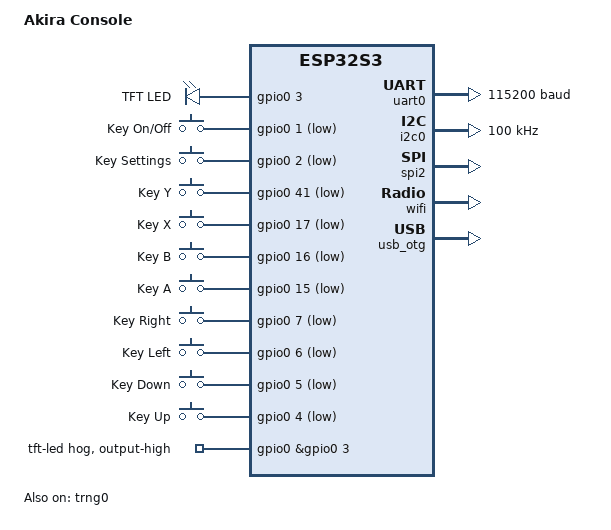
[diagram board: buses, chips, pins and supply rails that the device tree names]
/dts-v1/;

#include <espressif/esp32s3/esp32s3_mini_n4r2.dtsi>
#include "akiraconsole-pinctrl.dtsi"
#include <zephyr/dt-bindings/gpio/gpio.h>
#include <zephyr/dt-bindings/input/input-event-codes.h>
#include <espressif/partitions_0x0_amp.dtsi>

/ {
    model = "Akira Console";
    compatible = "akira,akiraconsole", "generic,esp32s3";

    chosen {
        zephyr,sram = &sram1;
        /* Use CDC ACM UART over USB OTG for console to keep GPIO1/3 free */
        zephyr,console = &cdc_acm_uart0;
        zephyr,shell-uart = &cdc_acm_uart0;
        zephyr,flash = &flash0;
        zephyr,code-partition = &slot0_partition;
    };

    aliases {
        i2c-0 = &i2c0;
        spi-2 = &spi2;
    };

    leds {
        compatible = "gpio-leds";

        tft_led: tft_led {
            gpios = <&gpio0 3 GPIO_ACTIVE_HIGH>;
            label = "TFT LED";
        };
    };

    gpio_keys {
        compatible = "gpio-keys";

        key_onoff: key_onoff {
            gpios = <&gpio0 1 (GPIO_PULL_UP | GPIO_ACTIVE_LOW)>;
            label = "Key On/Off";
            zephyr,code = <INPUT_KEY_POWER>;
        };

        key_settings: key_settings {
            gpios = <&gpio0 2 (GPIO_PULL_UP | GPIO_ACTIVE_LOW)>;
            label = "Key Settings";
            zephyr,code = <INPUT_KEY_MENU>;
        };

        key_y: key_y {
            gpios = <&gpio0 41 (GPIO_PULL_UP | GPIO_ACTIVE_LOW)>;
            label = "Key Y";
            zephyr,code = <INPUT_KEY_Y>;
        };

        key_x: key_x {
            gpios = <&gpio0 17 (GPIO_PULL_UP | GPIO_ACTIVE_LOW)>;
            label = "Key X";
            zephyr,code = <INPUT_KEY_X>;
        };

        key_b: key_b {
            gpios = <&gpio0 16 (GPIO_PULL_UP | GPIO_ACTIVE_LOW)>;
            label = "Key B";
            zephyr,code = <INPUT_KEY_B>;
        };

        key_a: key_a {
            gpios = <&gpio0 15 (GPIO_PULL_UP | GPIO_ACTIVE_LOW)>;
            label = "Key A";
            zephyr,code = <INPUT_KEY_A>;
        };

        key_right: key_right {
            gpios = <&gpio0 7 (GPIO_PULL_UP | GPIO_ACTIVE_LOW)>;
            label = "Key Right";
            zephyr,code = <INPUT_KEY_RIGHT>;
        };

        key_left: key_left {
            gpios = <&gpio0 6 (GPIO_PULL_UP | GPIO_ACTIVE_LOW)>;
            label = "Key Left";
            zephyr,code = <INPUT_KEY_LEFT>;
        };

        key_down: key_down {
            gpios = <&gpio0 5 (GPIO_PULL_UP | GPIO_ACTIVE_LOW)>;
            label = "Key Down";
            zephyr,code = <INPUT_KEY_DOWN>;
        };

        key_up: key_up {
            gpios = <&gpio0 4 (GPIO_PULL_UP | GPIO_ACTIVE_LOW)>;
            label = "Key Up";
            zephyr,code = <INPUT_KEY_UP>;
        };
    };
};

&uart0 {
    status = "okay";
    current-speed = <115200>;
    pinctrl-0 = <&uart0_default>;
    pinctrl-names = "default";
};

&i2c0 {
    status = "okay";
    clock-frequency = <I2C_BITRATE_STANDARD>;
    pinctrl-0 = <&i2c0_default>;
    pinctrl-names = "default";
};

&spi2 {
    #address-cells = <1>;
    #size-cells = <0>;
    status = "okay";
    pinctrl-0 = <&spim2_default>;
    pinctrl-names = "default";
};

&gpio0 {
    status = "okay";

    /* Display / SPI chip selects and control pins */
    tft_cs: tft_cs {
        compatible = "gpio-leds"; /* single gpio label */
        gpios = <&gpio0 10 GPIO_ACTIVE_LOW>;
        label = "TFT_CS (GPIO10)";
    };

    tft_dc: tft_dc {
        gpios = <&gpio0 9 GPIO_ACTIVE_HIGH>;
        label = "TFT_DC (GPIO9)";
    };

    tft_reset: tft_reset {
        gpios = <&gpio0 45 GPIO_ACTIVE_HIGH>;
        label = "TFT_RST (GPIO45)";
        output-high;
    };

    tft_led_hog: tft_led_hog {
        gpio-hog;
        gpios = <&gpio0 3 GPIO_ACTIVE_HIGH>;
        output-high;
        line-name = "tft-led";
    };

    /* SD card CS (SPI) */
    sd_cs: sd_cs {
        gpios = <&gpio0 14 GPIO_ACTIVE_LOW>;
        label = "SD_CS (GPIO14)";
    };

    /* NRF2 (external radio) pins */
    nrf2_ce: nrf2_ce {
        gpios = <&gpio0 39 GPIO_ACTIVE_HIGH>;
        label = "NRF2_CE (GPIO39)";
    };

    nrf2_csn: nrf2_csn {
        gpios = <&gpio0 38 GPIO_ACTIVE_HIGH>;
        label = "NRF2_CSN (GPIO38)";
    };

    /* NRF1 */
    nrf1_ce: nrf1_ce {
        gpios = <&gpio0 47 GPIO_ACTIVE_HIGH>;
        label = "NRF1_CE (GPIO47)";
    };

    nrf1_csn: nrf1_csn {
        gpios = <&gpio0 21 GPIO_ACTIVE_HIGH>;
        label = "NRF1_CSN (GPIO21)";
    };

    /* LR1121 LoRa chip pins */
    lr1121_nss: lr1121_nss {
        gpios = <&gpio0 37 GPIO_ACTIVE_HIGH>;
        label = "LR1121_NSS (GPIO37)";
    };

    lr1121_busy: lr1121_busy {
        gpios = <&gpio0 36 GPIO_ACTIVE_HIGH>;
        label = "LR1121_BUSY (GPIO36)";
    };

    lr1121_rst: lr1121_rst {
        gpios = <&gpio0 0 GPIO_ACTIVE_HIGH>;
        label = "LR1121_RST (GPIO0)";
    };
};

&trng0 {
    status = "okay";
};

&wifi {
    status = "okay";
};

&psram0 {
    size = <DT_SIZE_M(8)>;
    status = "okay";
};

/* USB OTG / CDC ACM for console */
zephyr_udc0: &usb_otg {
    status = "okay";

    cdc_acm_uart0: cdc_acm_uart0 {
        compatible = "zephyr,cdc-acm-uart";
    };
};
